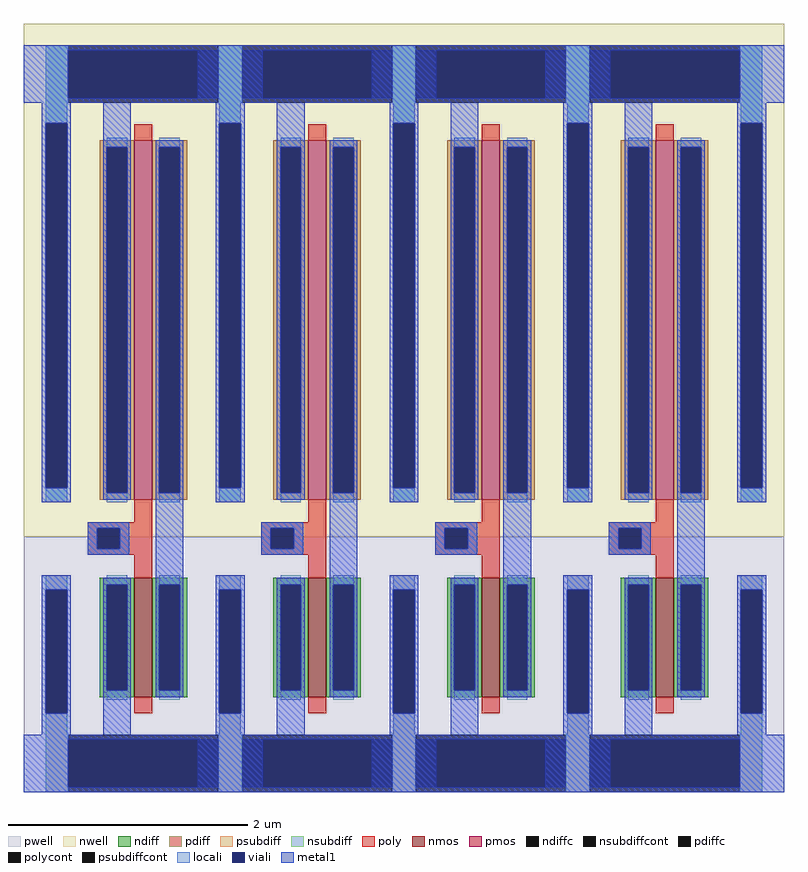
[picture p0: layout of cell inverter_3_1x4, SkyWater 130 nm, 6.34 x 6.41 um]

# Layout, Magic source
magic
tech sky130A
use inverter_3_1  inverter_3_1_0
transform 1 0 2 0 1 110
box 15 -98 214 543
use inverter_3_1  inverter_3_1_2
transform 1 0 147 0 1 110
box 15 -98 214 543
use inverter_3_1  inverter_3_1_3
transform 1 0 292 0 1 110
box 15 -98 214 543
use inverter_3_1  inverter_3_1_4
transform 1 0 437 0 1 110
box 15 -98 214 543
<< end >>

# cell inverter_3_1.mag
magic
tech sky130A
magscale 1 2
<< nwell >>
rect 30 954 428 1086
rect 30 230 120 954
rect 338 896 428 954
rect 328 288 428 896
rect 338 230 428 288
<< pwell >>
rect 30 -196 428 230
<< psubdiff >>
rect 66 142 102 166
rect 66 -100 102 -64
rect 356 142 392 166
rect 356 -100 392 -64
rect 66 -196 104 -100
rect 354 -196 392 -100
<< nsubdiff >>
rect 66 954 104 1050
rect 354 954 392 1050
rect 66 920 102 954
rect 66 288 102 312
rect 356 920 392 954
rect 356 288 392 312
<< psubdiffcont >>
rect 66 -64 102 142
rect 356 -64 392 142
rect 104 -196 354 -100
<< nsubdiffcont >>
rect 104 954 354 1050
rect 66 312 102 920
rect 356 312 392 920
<< poly >>
rect 214 254 244 266
rect 136 244 244 254
rect 136 210 152 244
rect 190 210 244 244
rect 136 200 244 210
rect 214 188 244 200
<< polycont >>
rect 152 210 190 244
<< locali >>
rect 66 954 104 1050
rect 354 954 392 1050
rect 66 920 102 954
rect 66 288 102 312
rect 356 920 392 954
rect 356 288 392 312
rect 136 244 206 254
rect 136 210 152 244
rect 190 210 206 244
rect 136 200 206 210
rect 66 142 102 166
rect 66 -100 102 -64
rect 356 142 392 166
rect 356 -100 392 -64
rect 66 -196 104 -100
rect 354 -196 392 -100
<< viali >>
rect 104 962 354 1042
rect 66 312 102 920
rect 356 312 392 920
rect 152 210 190 244
rect 66 -64 102 142
rect 356 -64 392 142
rect 104 -188 354 -108
<< metal1 >>
rect 30 1042 428 1050
rect 30 962 104 1042
rect 354 962 428 1042
rect 30 954 428 962
rect 60 920 108 954
rect 60 312 66 920
rect 102 312 108 920
rect 162 892 208 954
rect 350 920 398 954
rect 60 288 108 312
rect 350 312 356 920
rect 392 312 398 920
rect 136 244 206 254
rect 136 210 152 244
rect 190 210 206 244
rect 136 200 206 210
rect 60 142 108 166
rect 250 162 296 292
rect 350 288 398 312
rect 60 -64 66 142
rect 102 -64 108 142
rect 350 142 398 166
rect 60 -100 108 -64
rect 162 -100 208 -38
rect 350 -64 356 142
rect 392 -64 398 142
rect 350 -100 398 -64
rect 30 -108 428 -100
rect 30 -188 104 -108
rect 354 -188 428 -108
rect 30 -196 428 -188
use sky130_fd_pr__nfet_01v8_6H9P4D  sky130_fd_pr__nfet_01v8_6H9P4D_0
transform 1 0 229 0 1 62
box -73 -126 73 126
use sky130_fd_pr__pfet_01v8_2K9SAN  sky130_fd_pr__pfet_01v8_2K9SAN_0
transform 1 0 229 0 1 592
box -109 -362 109 362
<< end >>

# cell sky130_fd_pr__nfet_01v8_6H9P4D: kit device sky130_fd_pr__nfet_01v8, w 1 l 0.150 m 1 nf 1 diffcov 100 polycov 100 guard 0 glc 1 grc 1 gtc 1 gbc 1 tbcov 100 rlcov 100 topc 0 botc 0 poverlap 0 doverlap 1 lmin 0.15 wmin 0.42 compatible {sky130_fd_pr__nfet_01v8 sky130_fd_pr__nfet_01v8_lvt sky130_fd_bs_flash__special_sonosfet_star sky130_fd_pr__nfet_g5v0d10v5 sky130_fd_pr__nfet_05v0_nvt sky130_fd_pr__nfet_03v3_nvt} full_metal 1 viasrc 100 viadrn 100 viagate 100 viagb 0 viagr 0 viagl 0 viagt 0

# cell sky130_fd_pr__pfet_01v8_2K9SAN: kit device sky130_fd_pr__pfet_01v8, w 3 l 0.15 m 1 nf 1 diffcov 100 polycov 100 guard 0 glc 1 grc 1 gtc 1 gbc 1 tbcov 100 rlcov 100 topc 0 botc 0 poverlap 0 doverlap 1 lmin 0.15 wmin 0.42 compatible {sky130_fd_pr__pfet_01v8 sky130_fd_pr__pfet_01v8_lvt sky130_fd_pr__pfet_01v8_hvt sky130_fd_pr__pfet_g5v0d10v5} full_metal 1 viasrc 100 viadrn 100 viagate 100 viagb 0 viagr 0 viagl 0 viagt 0
